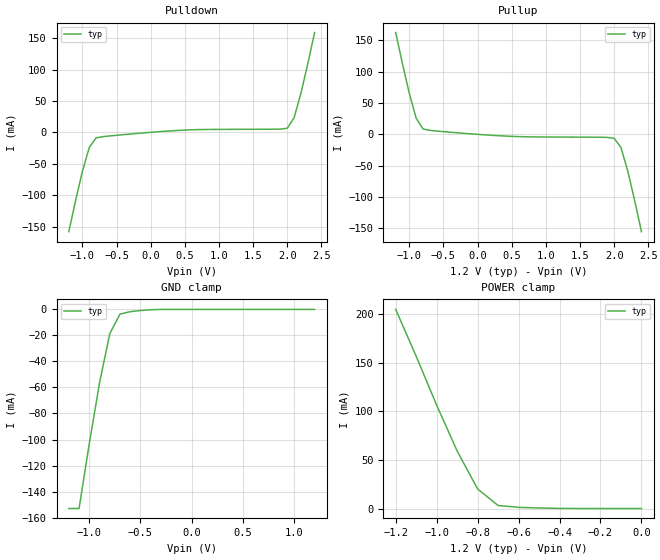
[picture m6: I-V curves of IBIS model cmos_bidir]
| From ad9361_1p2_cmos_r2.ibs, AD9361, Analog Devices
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[model] cmos_bidir
Model_type I/O
Vinl = 0.42
Vinh = 0.78
Cref  =   3.000pF
Rref  =   10kOhm
Vref  =   1.2V
Vmeas =   0.9V
|   typ   min   max
C_comp   4pF   NA   NA
[Voltage Range]   1.200V  NA   NA
[GND Clamp Reference]   0.000V  NA   NA
[POWER Clamp Reference] 1.200V  NA   NA
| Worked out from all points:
|   slope of the pulldown table from 0 to 0.18 V, typ, clamps not added: 122 ohm
|   slope of the pullup table from 0 to 0.18 V, typ, clamps not added: 138 ohm
|   GND clamp passes 1 mA (typ) near -0.52 V on its own axis
|   POWER clamp passes 1 mA (typ) near -0.57 V on its own axis
[GND Clamp]
| Voltage  I(typ)   I(min)  I(max)
-1.2V     -153mA     NA         NA
-1.1V     -153mA     NA         NA
-1V       -103.1mA   NA         NA
-900mV    -56.47mA   NA         NA
-800mV    -18.66mA   NA         NA
-700mV    -3.584mA   NA         NA
-600mV    -1.725mA   NA         NA
-300mV    -23.56uA   NA         NA
1.2V      20pA       NA         NA
[POWER Clamp]
| Voltage  I(typ)   I(min)  I(max)
-1.2V     205.1mA    NA         NA
-1.1V     156.8mA    NA         NA
-1V       106.5mA    NA         NA
-900mV    59.26mA    NA         NA
-800mV    20.15mA    NA         NA
-700mV    3.092mA    NA         NA
-500mV    540.8uA    NA         NA
0V        370pA      NA         NA
[Pulldown]
| Voltage  I(typ)   I(min)  I(max)
-1.2V     -158.2mA   NA         NA
-1.1V     -108.3mA   NA         NA
-1V       -61.75mA   NA         NA
-900mV    -23.96mA   NA         NA
-800mV    -8.846mA   NA         NA
-300mV    -2.734mA   NA         NA
500mV     3.566mA    NA         NA
2V        6.533mA    NA         NA
2.1V      23.31mA    NA         NA
2.2V      62.17mA    NA         NA
2.3V      109mA      NA         NA
2.4V      158.9mA    NA         NA
[Pullup]
| Voltage  I(typ)   I(min)  I(max)
-1.2V     162.3mA    NA         NA
-1.1V     112.2mA    NA         NA
-1V       65.03mA    NA         NA
-900mV    25.81mA    NA         NA
-800mV    8.539mA    NA         NA
-400mV    3.371mA    NA         NA
400mV     -2.674mA   NA         NA
2V        -6.277mA   NA         NA
2.1V      -21.1mA    NA         NA
2.2V      -58.73mA   NA         NA
2.3V      -105.2mA   NA         NA
2.4V      -155mA     NA         NA
[Ramp]
|   typ   min   max
dV/dt_r   0.78V/.2830581ns   NA   NA
dV/dt_f   0.78V/.2729666ns   NA   NA
R_load=10k
|--end cmos_bidir model-----------------------------------------------------
